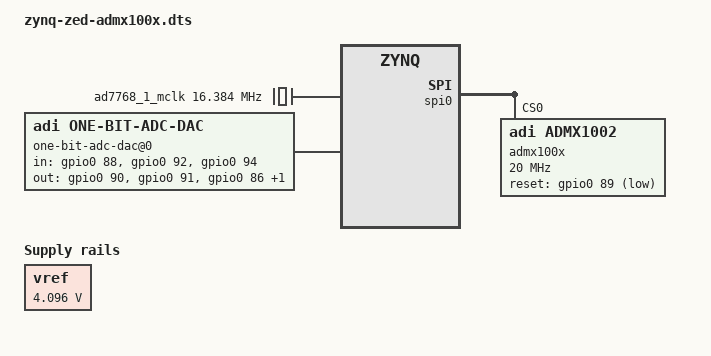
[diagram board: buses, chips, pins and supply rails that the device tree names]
// SPDX-License-Identifier: GPL-2.0
/*
 * Analog Devices ADMX100x
 *
 * hdl_project: <admx100x/zed>
 *
 * Copyright (C) 2026 Analog Devices Inc.
 */
/dts-v1/;

#include "zynq-zed.dtsi"
#include "zynq-zed-adv7511.dtsi"
#include <dt-bindings/interrupt-controller/irq.h>
#include <dt-bindings/gpio/gpio.h>

/ {
	vref: regulator-vref {
		compatible = "regulator-fixed";
		regulator-name = "fixed-supply";
		regulator-min-microvolt = <4096000>;
		regulator-max-microvolt = <4096000>;
		regulator-always-on;
	};

	clocks {
		ad7768_1_mclk: clock@0 {
			#clock-cells = <0>;
			compatible = "fixed-clock";
			clock-frequency = <16384000>;
		};
	};

	one-bit-adc-dac@0 {
		compatible = "adi,one-bit-adc-dac";
		#address-cells = <1>;
		#size-cells = <0>;

		in-gpios = <&gpio0 88 GPIO_ACTIVE_HIGH>,
				   <&gpio0 92 GPIO_ACTIVE_HIGH>,
				   <&gpio0 94 GPIO_ACTIVE_HIGH>;
		out-gpios = <&gpio0 90 GPIO_ACTIVE_HIGH>,
					<&gpio0 91 GPIO_ACTIVE_HIGH>,
					<&gpio0 86 GPIO_ACTIVE_HIGH>,
					<&gpio0 93 GPIO_ACTIVE_HIGH>;
		channel@0 {
			reg = <0>;
			label = "admx100x_sync_mode";
		};
		channel@1 {
			reg = <1>;
			label = "admx100x_cal";
		};
		channel@2 {
			reg = <2>;
			label = "admx100x_trig";
		};
		channel@3 {
			reg = <3>;
			label = "admx100x_ready";
		};
		channel@4 {
			reg = <4>;
			label = "admx100x_valid";
		};
        channel@5 {
			reg = <5>;
			label = "admx100x_ot";
		};
        channel@6 {
			reg = <6>;
			label = "admx100x_dac_ldac";
		};
	};
};

&spi0 {
	#address-cells = <1>;
	#size-cells = <0>;
	status = "okay";

	admx100x: adc@0 {
		compatible = "adi,admx1002";
		reg = <0>;
		reset-gpios = <&gpio0 89 GPIO_ACTIVE_LOW>;
		spi-max-frequency = <20000000>;
	};
};
